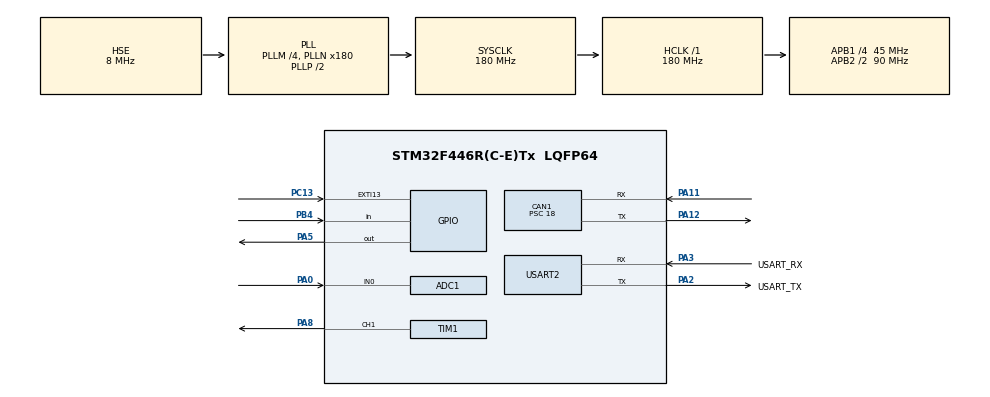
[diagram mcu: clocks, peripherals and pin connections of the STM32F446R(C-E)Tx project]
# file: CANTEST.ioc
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ADC1.Channel-0\#ChannelRegularConversion=ADC_CHANNEL_0
ADC1.ContinuousConvMode=DISABLE
ADC1.InjNumberOfConversion=0
ADC1.NbrOfConversionFlag=1
ADC1.Rank-0\#ChannelRegularConversion=1
ADC1.SamplingTime-0\#ChannelRegularConversion=ADC_SAMPLETIME_3CYCLES
ADC1.master=1
CAN1.BS1=CAN_BS1_2TQ
CAN1.BS2=CAN_BS2_2TQ
CAN1.CalculateBaudRate=500000
CAN1.CalculateTimeBit=2000
CAN1.CalculateTimeQuantum=400.0
CAN1.Prescaler=18
Dma.Request0=TIM1_CH1
Dma.TIM1_CH1.0.Direction=DMA_MEMORY_TO_PERIPH
Dma.TIM1_CH1.0.FIFOMode=DMA_FIFOMODE_DISABLE
Dma.TIM1_CH1.0.Instance=DMA2_Stream1
Dma.TIM1_CH1.0.MemDataAlignment=DMA_MDATAALIGN_HALFWORD
Dma.TIM1_CH1.0.MemInc=DMA_MINC_ENABLE
Dma.TIM1_CH1.0.Mode=DMA_NORMAL
Dma.TIM1_CH1.0.PeriphDataAlignment=DMA_PDATAALIGN_HALFWORD
Dma.TIM1_CH1.0.PeriphInc=DMA_PINC_DISABLE
Dma.TIM1_CH1.0.Priority=DMA_PRIORITY_LOW
Mcu.Family=STM32F4
Mcu.Name=STM32F446R(C-E)Tx
Mcu.Package=LQFP64
NVIC.ADC_IRQn=true\:0\:0\:false\:false\:true\:true\:true\:true
NVIC.CAN1_RX0_IRQn=true\:0\:0\:false\:false\:true\:true\:true\:true
NVIC.DMA2_Stream1_IRQn=true\:0\:0\:false\:false\:true\:false\:true\:true
NVIC.EXTI15_10_IRQn=true\:0\:0\:false\:false\:true\:true\:true\:true
NVIC.PriorityGroup=NVIC_PRIORITYGROUP_0
NVIC.USART2_IRQn=true\:0\:0\:false\:false\:true\:true\:true\:true
PA0-WKUP.Signal=ADCx_IN0
PA11.Mode=CAN_Activate
PA11.Signal=CAN1_RX
PA12.Mode=CAN_Activate
PA12.Signal=CAN1_TX
PA13.GPIO_Label=TMS
PA13.Mode=Serial_Wire
PA13.Signal=SYS_JTMS-SWDIO
PA14.GPIO_Label=TCK
PA14.Mode=Serial_Wire
PA14.Signal=SYS_JTCK-SWCLK
PA2.GPIO_Label=USART_TX
PA2.Mode=Asynchronous
PA2.Signal=USART2_TX
PA3.GPIO_Label=USART_RX
PA3.Mode=Asynchronous
PA3.Signal=USART2_RX
PA5.Signal=GPIO_Output
PA8.Signal=S_TIM1_CH1
PB3.GPIO_Label=SWO
PB3.Signal=SYS_JTDO-SWO
PB4.GPIO_PuPd=GPIO_PULLUP
PB4.Signal=GPIO_Input
PC13.Signal=GPXTI13
PC14-OSC32_IN.Mode=LSE-External-Oscillator
PC14-OSC32_IN.Signal=RCC_OSC32_IN
PC15-OSC32_OUT.Mode=LSE-External-Oscillator
PC15-OSC32_OUT.Signal=RCC_OSC32_OUT
PH0-OSC_IN.Mode=HSE-External-Oscillator
PH0-OSC_IN.Signal=RCC_OSC_IN
PH1-OSC_OUT.Mode=HSE-External-Oscillator
PH1-OSC_OUT.Signal=RCC_OSC_OUT
ProjectManager.HeapSize=0x200
ProjectManager.StackSize=0x400
ProjectManager.TargetToolchain=STM32CubeIDE
RCC.48MHZClocksFreq_Value=84000000
RCC.AHBFreq_Value=180000000
RCC.APB1CLKDivider=RCC_HCLK_DIV4
RCC.APB1Freq_Value=45000000
RCC.APB1TimFreq_Value=90000000
RCC.APB2CLKDivider=RCC_HCLK_DIV2
RCC.APB2Freq_Value=90000000
RCC.APB2TimFreq_Value=180000000
RCC.CortexFreq_Value=180000000
RCC.FLatency-AdvancedSettings=FLASH_LATENCY_5
RCC.HCLKFreq_Value=180000000
RCC.HSE_VALUE=8000000
RCC.HSI_VALUE=16000000
RCC.PLLM=4
RCC.PLLN=180
RCC.PLLSourceVirtual=RCC_PLLSOURCE_HSE
RCC.SYSCLKFreq_VALUE=180000000
RCC.SYSCLKSource=RCC_SYSCLKSOURCE_PLLCLK
RCC.USBFreq_Value=180000000
RCC.VCOOutputFreq_Value=360000000
SH.ADCx_IN0.0=ADC1_IN0,IN0
SH.S_TIM1_CH1.0=TIM1_CH1,PWM Generation1 CH1
TIM1.Channel-PWM\ Generation1\ CH1=TIM_CHANNEL_1
USART2.VirtualMode=VM_ASYNC
VP_TIM1_VS_ClockSourceINT.Mode=Internal
board=NUCLEO-F446RE

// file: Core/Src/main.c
/* USER CODE BEGIN Header */
/**
  ******************************************************************************
  * @file           : main.c
  * @brief          : Main program body
  ******************************************************************************
  * @attention
  *
  * Copyright (c) 2025 STMicroelectronics.
  * All rights reserved.
  *
  * This software is licensed under terms that can be found in the LICENSE file
  * in the root directory of this software component.
  * If no LICENSE file comes with this software, it is provided AS-IS.
  *
  ******************************************************************************
  */
/* USER CODE END Header */
#include "main.h"

/* USER CODE BEGIN Includes */
#include "MQ2.h"
#include <math.h>
#include "DHT.h"
#include <stdio.h>
#include <string.h>
#include <stdbool.h>

/* USER CODE END Includes */

ADC_HandleTypeDef hadc1;

CAN_HandleTypeDef hcan1;

TIM_HandleTypeDef htim1;
DMA_HandleTypeDef hdma_tim1_ch1;

UART_HandleTypeDef huart2;

/* USER CODE BEGIN PV */
char uartBufR[64];
char txBuf[200];	// buffer for serial communication
uint8_t adc_valid = 0;
/* ADC Samples array */
uint32_t NUM_SAMPLES = 0;
uint32_t i = 0;
uint32_t ADC_SAMPLES[1000];
/* USER CODE END PV */

void SystemClock_Config(void);
static void MX_GPIO_Init(void);
static void MX_DMA_Init(void);
static void MX_USART2_UART_Init(void);
static void MX_CAN1_Init(void);
static void MX_ADC1_Init(void);
static void MX_TIM1_Init(void);
/* USER CODE BEGIN PFP */
void usDelay(uint16_t us);
void DelayTIM4_Init(void);
/* USER CODE END PFP */

/* USER CODE BEGIN 0 */
CAN_TxHeaderTypeDef TxHeader;
CAN_RxHeaderTypeDef RxHeader;

uint8_t TxData[8];
uint8_t RxData[8];

uint32_t TxMailbox;
int datacheck=0;
ADC_HandleTypeDef hadc1;
UART_HandleTypeDef huart2;

void HAL_ADC_ConvCpltCallback(ADC_HandleTypeDef *hadc){
	adc_valid = 1;
	if(i < NUM_SAMPLES){
		ADC_SAMPLES[i] = HAL_ADC_GetValue(&hadc1);
		i++;
		HAL_ADC_Start_IT(&hadc1);
	}
	else{
		i = 0;	// reinitialize iterator
		HAL_ADC_Stop_IT(&hadc1);
	}
}

/* MQ2 Sensor Specific Functions */
void MQ2_create(MQ2 *sensor) {
    sensor->LPGCurve[0] = 2.3;
    sensor->LPGCurve[1] = 0.21;
    sensor->LPGCurve[2] = -0.47;
    sensor->COCurve[0] = 2.3;
    sensor->COCurve[1] = 0.72;
    sensor->COCurve[2] = -0.34;
    sensor->SmokeCurve[0] = 2.3;
    sensor->SmokeCurve[1] = 0.53;
    sensor->SmokeCurve[2] = -0.44;
    sensor->Ro = -1.0;
    sensor->lastReadTime = 0;
}

void MQ2_begin(MQ2 *sensor) {
    // Initialization code here
	sensor->Ro = MQ2_MQCalibration(sensor);

	sprintf(txBuf, "Ro: %f kohm\r\n\r\n", sensor->Ro);
	HAL_UART_Transmit_IT(&huart2, (uint8_t *)txBuf, strlen(txBuf));
	HAL_Delay(50);
}

void MQ2_close(MQ2 *sensor) {
	sensor->Ro = -1.0;
	sensor->values[0] = 0.0;
	sensor->values[1] = 0.0;
	sensor->values[2] = 0.0;
}

bool MQ2_checkCalibration(MQ2 *sensor) {
	if (sensor->Ro < 0.0) {
		sprintf(txBuf, "%s ", "Device not calibrated, call MQ2_begin before reading any value.");
		HAL_UART_Transmit_IT(&huart2, (uint8_t *)txBuf, strlen(txBuf));
		return false;
	}
	return true;
}

float* MQ2_read(MQ2 *sensor, bool print) {
    // Reading code here
	if (!MQ2_checkCalibration(sensor)) return NULL;

	sensor->values[0] = MQ2_MQGetPercentage(sensor->LPGCurve, sensor);
	sensor->values[1] = MQ2_MQGetPercentage(sensor->COCurve, sensor);
	sensor->values[2] = MQ2_MQGetPercentage(sensor->SmokeCurve, sensor);

	sensor->lastReadTime = HAL_GetTick();

	if (print){
		sprintf(txBuf, "%dms\r\n", sensor->lastReadTime);
		HAL_UART_Transmit_IT(&huart2, (uint8_t *)txBuf, strlen(txBuf));
		HAL_Delay(50);

		sprintf(txBuf, "LPG: %f ppm\r\n", sensor->values[0]);
		HAL_UART_Transmit_IT(&huart2, (uint8_t *)txBuf, strlen(txBuf));
		HAL_Delay(50);

		sprintf(txBuf, "CO: %f ppm \r\n", sensor->values[1]);
		HAL_UART_Transmit_IT(&huart2, (uint8_t *)txBuf, strlen(txBuf));
		HAL_Delay(50);

		sprintf(txBuf, "SMOKE: %f ppm\r\n", sensor->values[2]);
		HAL_UART_Transmit_IT(&huart2, (uint8_t *)txBuf, strlen(txBuf));
		HAL_Delay(50);
	}

	return sensor->values;
}

float MQ2_readLPG(MQ2 *sensor) {

	if (!MQ2_checkCalibration(sensor)) return 0.0;

	if (HAL_GetTick() < (sensor->lastReadTime + READ_DELAY) && sensor->values[0] > 0)
		return sensor->values[0];
	else
		return (sensor->values[0] = MQ2_MQGetPercentage(sensor->LPGCurve, sensor));
}

float MQ2_readCO(MQ2 *sensor) {
	if (!MQ2_checkCalibration(sensor)) return 0.0;

	if (HAL_GetTick() < (sensor->lastReadTime + READ_DELAY) && sensor->values[1] > 0)
		return sensor->values[1];
	else
		return (sensor->values[1] = MQ2_MQGetPercentage(sensor->COCurve, sensor));
}

float MQ2_readSmoke(MQ2 *sensor) {
	if (!MQ2_checkCalibration(sensor)) return 0.0;

	if (HAL_GetTick() < (sensor->lastReadTime + READ_DELAY) && sensor->values[2] > 0)
		return sensor->values[2];
	else
		return (sensor->values[2] = MQ2_MQGetPercentage(sensor->SmokeCurve, sensor));
}

float MQ2_MQResistanceCalculation(int raw_adc) {
    // MQResistanceCalculation code here
	float flt_adc = (float) raw_adc;
	return RL_VALUE * (1023.0 - flt_adc) / flt_adc;
}

float MQ2_MQCalibration(MQ2 *sensor) {
    // MQCalibration code here
	float val = 0.0;

	// take multiple samples
	NUM_SAMPLES = CALIBARAION_SAMPLE_TIMES;
	HAL_ADC_Start_IT(&hadc1);
	HAL_Delay(CALIBRATION_SAMPLE_INTERVAL);

	for (int i = 0; i < CALIBARAION_SAMPLE_TIMES; i++) {
		val += MQ2_MQResistanceCalculation(ADC_SAMPLES[i]);
	}

	//calculate the average value
	val = val / ((float) CALIBARAION_SAMPLE_TIMES);

	//divided by RO_CLEAN_AIR_FACTOR yields the Ro according to the chart in the datasheet
	val = val / RO_CLEAN_AIR_FACTOR;

	return val;
}

float MQ2_MQRead(MQ2 *sensor) {
	float rs = 0.0;

	// take multiple samples
	NUM_SAMPLES = READ_SAMPLE_TIMES;
	HAL_ADC_Start_IT(&hadc1);
	HAL_Delay(READ_SAMPLE_INTERVAL);

	for (int i = 0; i < READ_SAMPLE_TIMES; i++) {
		rs += MQ2_MQResistanceCalculation(ADC_SAMPLES[i]);
	}

	return rs / ((float) READ_SAMPLE_TIMES);  // return the average
}

float MQ2_MQGetPercentage(float *pcurve, MQ2 *sensor) {
	float rs_ro_ratio = MQ2_MQRead(sensor) / sensor->Ro;
	return pow(10.0, ((log(rs_ro_ratio) - pcurve[1]) / pcurve[2]) + pcurve[0]);
}
void HAL_GPIO_EXTI_Callback(uint16_t GPIO_Pin)
{
	if(GPIO_Pin==GPIO_PIN_13)
	{
		TxData[0]=0; //ms delay
		TxData[1]=0;  //loop
		TxData[2]=0;

		HAL_CAN_AddTxMessage(&hcan1, &TxHeader, TxData, TxMailbox);
	}
	}
void HAL_CAN_RxFifo0MsgPendingCallback(CAN_HandleTypeDef *hcan)
{
	HAL_CAN_GetRxMessage(hcan, CAN_RX_FIFO0, &RxHeader, RxData);
	if(RxHeader.DLC==2)
	{
		datacheck=1;
	}
	}

char uartBuf[100];

/* USER CODE END 0 */

int main(void)
{

  /* USER CODE BEGIN 1 */
//	uint32_t numTicks = 0;////////////////////////////////////////

  /* USER CODE END 1 */

  /* MCU Configuration--------------------------------------------------------*/

  /* Reset of all peripherals, Initializes the Flash interface and the Systick. */
  HAL_Init();

  /* Configure the system clock */
  SystemClock_Config();

  /* Initialize all configured peripherals */
  MX_GPIO_Init();
  MX_DMA_Init();
  MX_USART2_UART_Init();
  MX_CAN1_Init();
  MX_ADC1_Init();
  MX_TIM1_Init();
  /* USER CODE BEGIN 2 */
HAL_CAN_Start(&hcan1);
// Setup
MQ2 sensor;
MQ2_create(&sensor);
MQ2_begin(&sensor);
float lpg, co, smoke;
//DelayTIM4_Init();

static DHT_sensor livingRoom = {GPIOB, GPIO_PIN_4, DHT11, GPIO_NOPULL};
//activate notification
HAL_CAN_ActivateNotification(&hcan1, CAN_IT_RX_FIFO0_MSG_PENDING);

TxHeader.DLC=3;
TxHeader.IDE=CAN_ID_STD;
TxHeader.RTR=CAN_RTR_DATA;
TxHeader.StdId=0x446;
//Ro = MQ4_CalculateRo();

HAL_Delay(2000);

  /* USER CODE END 2 */

  /* Infinite loop */
  /* USER CODE BEGIN WHILE */
  while (1)
  {
	  MQ2_read(&sensor, true); //set it false if you don't want to print the values to the Serial

	 	  // lpg = values[0];
	 	  lpg = MQ2_readLPG(&sensor);
	 	  // co = values[1];
	 	  co = MQ2_readCO(&sensor);
	 	  // smoke = values[2];
	 	  smoke = MQ2_readSmoke(&sensor);

	 	  sprintf(txBuf, "lpg: %f\r\n", lpg);
	 	  HAL_UART_Transmit_IT(&huart2, (uint8_t *)txBuf, strlen(txBuf));
	 	  HAL_Delay(50);

	 	  sprintf(txBuf, "co: %f\r\n", co);
	 	  HAL_UART_Transmit_IT(&huart2, (uint8_t *)txBuf, strlen(txBuf));
	 	  HAL_Delay(50);

	 	  sprintf(txBuf, "smoke: %f\r\n\r\n", smoke);
	 	  HAL_UART_Transmit_IT(&huart2, (uint8_t *)txBuf, strlen(txBuf));
	 	  HAL_Delay(50);

	 	  HAL_Delay(1000);
    /* USER CODE END WHILE */

    /* USER CODE BEGIN 3 */
	  char msg[40];
	  DHT_data d = DHT_getData(&livingRoom);
	  sprintf(msg, "\f Temp %d°C, Hum %d%%", (uint8_t)d.temp, (uint8_t)d.hum);
	  HAL_UART_Transmit(&huart2, (uint8_t*)msg, strlen(msg), 10);////////////////////////////////////HAL_MAX_DELAY
HAL_Delay(1000);

	 // HAL_Delay(50);

	 // sprintf(txBuf, "co: %f\r\n", co);
	//  HAL_UART_Transmit_IT(&huart2, (uint8_t *)txBuf, strlen(txBuf));
	 // HAL_Delay(50);

	 // sprintf(txBuf, "smoke: %f\r\n\r\n", smoke);
	 // HAL_UART_Transmit_IT(&huart2, (uint8_t *)txBuf, strlen(txBuf));
	 // HAL_Delay(50);

	  //HAL_Delay(500);
	  //blink the led
	  if (isnan(lpg)&&(d.temp<50)) {

		  //int ValTemp = (int)d.temp;
		  TxData[0]=1; //ms delay
		  TxData[1]=0;  //loop
		  TxData[2]=d.temp;s
		  HAL_CAN_AddTxMessage(&hcan1, &TxHeader, TxData, TxMailbox);

	  }else if(!isnan(lpg)&&(d.temp>50)){

		  int ValTemp = (int)d.temp;
		  TxData[0]=0; //ms delay
		  TxData[1]=1;  //loop
		  TxData[2]=d.temp;
		  HAL_CAN_AddTxMessage(&hcan1, &TxHeader, TxData, TxMailbox);

	  }else if(isnan(lpg)&&(d.temp>50)){
		  int ValTemp = (int)d.temp;
		  TxData[0]=1; //ms delay
		  TxData[1]=1;  //loop
		  TxData[2]=d.temp;
		  HAL_CAN_AddTxMessage(&hcan1, &TxHeader, TxData, TxMailbox);

	  }else{
		  int ValTemp = d.temp;
		  TxData[0]=0; //ms delay
		  TxData[1]=0;  //loop
		  TxData[2]=d.temp;
		  HAL_CAN_AddTxMessage(&hcan1, &TxHeader, TxData, TxMailbox);
	  }
  }
  /* USER CODE END 3 */
}

void SystemClock_Config(void)
{
  RCC_OscInitTypeDef RCC_OscInitStruct = {0};
  RCC_ClkInitTypeDef RCC_ClkInitStruct = {0};

  /** Configure the main internal regulator output voltage
  */
  __HAL_RCC_PWR_CLK_ENABLE();
  __HAL_PWR_VOLTAGESCALING_CONFIG(PWR_REGULATOR_VOLTAGE_SCALE1);

  /** Initializes the RCC Oscillators according to the specified parameters
  * in the RCC_OscInitTypeDef structure.
  */
  RCC_OscInitStruct.OscillatorType = RCC_OSCILLATORTYPE_HSE;
  RCC_OscInitStruct.HSEState = RCC_HSE_ON;
  RCC_OscInitStruct.PLL.PLLState = RCC_PLL_ON;
  RCC_OscInitStruct.PLL.PLLSource = RCC_PLLSOURCE_HSE;
  RCC_OscInitStruct.PLL.PLLM = 4;
  RCC_OscInitStruct.PLL.PLLN = 180;
  RCC_OscInitStruct.PLL.PLLP = RCC_PLLP_DIV2;
  RCC_OscInitStruct.PLL.PLLQ = 2;
  RCC_OscInitStruct.PLL.PLLR = 2;
  if (HAL_RCC_OscConfig(&RCC_OscInitStruct) != HAL_OK)
  {
    Error_Handler();
  }

  /** Activate the Over-Drive mode
  */
  if (HAL_PWREx_EnableOverDrive() != HAL_OK)
  {
    Error_Handler();
  }

  /** Initializes the CPU, AHB and APB buses clocks
  */
  RCC_ClkInitStruct.ClockType = RCC_CLOCKTYPE_HCLK|RCC_CLOCKTYPE_SYSCLK
                              |RCC_CLOCKTYPE_PCLK1|RCC_CLOCKTYPE_PCLK2;
  RCC_ClkInitStruct.SYSCLKSource = RCC_SYSCLKSOURCE_PLLCLK;
  RCC_ClkInitStruct.AHBCLKDivider = RCC_SYSCLK_DIV1;
  RCC_ClkInitStruct.APB1CLKDivider = RCC_HCLK_DIV4;
  RCC_ClkInitStruct.APB2CLKDivider = RCC_HCLK_DIV2;

  if (HAL_RCC_ClockConfig(&RCC_ClkInitStruct, FLASH_LATENCY_5) != HAL_OK)
  {
    Error_Handler();
  }
}

static void MX_ADC1_Init(void)
{

  ADC_ChannelConfTypeDef sConfig = {0};

  /** Configure the global features of the ADC (Clock, Resolution, Data Alignment and number of conversion)
  */
  hadc1.Instance = ADC1;
  hadc1.Init.ClockPrescaler = ADC_CLOCK_SYNC_PCLK_DIV4;
  hadc1.Init.Resolution = ADC_RESOLUTION_12B;
  hadc1.Init.ScanConvMode = DISABLE;
  hadc1.Init.ContinuousConvMode = DISABLE;
  hadc1.Init.DiscontinuousConvMode = DISABLE;
  hadc1.Init.ExternalTrigConvEdge = ADC_EXTERNALTRIGCONVEDGE_NONE;
  hadc1.Init.ExternalTrigConv = ADC_SOFTWARE_START;
  hadc1.Init.DataAlign = ADC_DATAALIGN_RIGHT;
  hadc1.Init.NbrOfConversion = 1;
  hadc1.Init.DMAContinuousRequests = DISABLE;
  hadc1.Init.EOCSelection = ADC_EOC_SINGLE_CONV;
  if (HAL_ADC_Init(&hadc1) != HAL_OK)
  {
    Error_Handler();
  }

  /** Configure for the selected ADC regular channel its corresponding rank in the sequencer and its sample time.
  */
  sConfig.Channel = ADC_CHANNEL_0;
  sConfig.Rank = 1;
  sConfig.SamplingTime = ADC_SAMPLETIME_3CYCLES;
  if (HAL_ADC_ConfigChannel(&hadc1, &sConfig) != HAL_OK)
  {
    Error_Handler();
  }

}

static void MX_CAN1_Init(void)
{

  hcan1.Instance = CAN1;
  hcan1.Init.Prescaler = 18;
  hcan1.Init.Mode = CAN_MODE_NORMAL;
  hcan1.Init.SyncJumpWidth = CAN_SJW_1TQ;
  hcan1.Init.TimeSeg1 = CAN_BS1_2TQ;
  hcan1.Init.TimeSeg2 = CAN_BS2_2TQ;
  hcan1.Init.TimeTriggeredMode = DISABLE;
  hcan1.Init.AutoBusOff = DISABLE;
  hcan1.Init.AutoWakeUp = DISABLE;
  hcan1.Init.AutoRetransmission = DISABLE;
  hcan1.Init.ReceiveFifoLocked = DISABLE;
  hcan1.Init.TransmitFifoPriority = DISABLE;
  if (HAL_CAN_Init(&hcan1) != HAL_OK)
  {
    Error_Handler();
  }
  /* USER CODE BEGIN CAN1_Init 2 */
  CAN_FilterTypeDef canfilterconfig;
  canfilterconfig.FilterActivation=CAN_FILTER_ENABLE;
  canfilterconfig.FilterBank=18;
  canfilterconfig.FilterFIFOAssignment=CAN_FILTER_FIFO0;
  canfilterconfig.FilterIdHigh=0x103<<5;
  canfilterconfig.FilterIdLow=0;
  canfilterconfig.FilterMaskIdHigh=0x100<<5;
  canfilterconfig.FilterMaskIdLow=0x0000;
  canfilterconfig.FilterMode=CAN_FILTERMODE_IDMASK;
  canfilterconfig.FilterScale=CAN_FILTERSCALE_32BIT;
  canfilterconfig.SlaveStartFilterBank=20;

  HAL_CAN_ConfigFilter(&hcan1, &canfilterconfig);
  /* USER CODE END CAN1_Init 2 */

}

static void MX_TIM1_Init(void)
{

  TIM_ClockConfigTypeDef sClockSourceConfig = {0};
  TIM_MasterConfigTypeDef sMasterConfig = {0};
  TIM_OC_InitTypeDef sConfigOC = {0};
  TIM_BreakDeadTimeConfigTypeDef sBreakDeadTimeConfig = {0};

  htim1.Instance = TIM1;
  htim1.Init.Prescaler = 0;
  htim1.Init.CounterMode = TIM_COUNTERMODE_UP;
  htim1.Init.Period = 65535;
  htim1.Init.ClockDivision = TIM_CLOCKDIVISION_DIV1;
  htim1.Init.RepetitionCounter = 0;
  htim1.Init.AutoReloadPreload = TIM_AUTORELOAD_PRELOAD_DISABLE;
  if (HAL_TIM_Base_Init(&htim1) != HAL_OK)
  {
    Error_Handler();
  }
  sClockSourceConfig.ClockSource = TIM_CLOCKSOURCE_INTERNAL;
  if (HAL_TIM_ConfigClockSource(&htim1, &sClockSourceConfig) != HAL_OK)
  {
    Error_Handler();
  }
  if (HAL_TIM_PWM_Init(&htim1) != HAL_OK)
  {
    Error_Handler();
  }
  sMasterConfig.MasterOutputTrigger = TIM_TRGO_RESET;
  sMasterConfig.MasterSlaveMode = TIM_MASTERSLAVEMODE_DISABLE;
  if (HAL_TIMEx_MasterConfigSynchronization(&htim1, &sMasterConfig) != HAL_OK)
  {
    Error_Handler();
  }
  sConfigOC.OCMode = TIM_OCMODE_PWM1;
  sConfigOC.Pulse = 0;
  sConfigOC.OCPolarity = TIM_OCPOLARITY_HIGH;
  sConfigOC.OCNPolarity = TIM_OCNPOLARITY_HIGH;
  sConfigOC.OCFastMode = TIM_OCFAST_DISABLE;
  sConfigOC.OCIdleState = TIM_OCIDLESTATE_RESET;
  sConfigOC.OCNIdleState = TIM_OCNIDLESTATE_RESET;
  if (HAL_TIM_PWM_ConfigChannel(&htim1, &sConfigOC, TIM_CHANNEL_1) != HAL_OK)
  {
    Error_Handler();
  }
  sBreakDeadTimeConfig.OffStateRunMode = TIM_OSSR_DISABLE;
  sBreakDeadTimeConfig.OffStateIDLEMode = TIM_OSSI_DISABLE;
  sBreakDeadTimeConfig.LockLevel = TIM_LOCKLEVEL_OFF;
  sBreakDeadTimeConfig.DeadTime = 0;
  sBreakDeadTimeConfig.BreakState = TIM_BREAK_DISABLE;
  sBreakDeadTimeConfig.BreakPolarity = TIM_BREAKPOLARITY_HIGH;
  sBreakDeadTimeConfig.AutomaticOutput = TIM_AUTOMATICOUTPUT_DISABLE;
  if (HAL_TIMEx_ConfigBreakDeadTime(&htim1, &sBreakDeadTimeConfig) != HAL_OK)
  {
    Error_Handler();
  }
  HAL_TIM_MspPostInit(&htim1);

}

static void MX_USART2_UART_Init(void)
{

  huart2.Instance = USART2;
  huart2.Init.BaudRate = 115200;
  huart2.Init.WordLength = UART_WORDLENGTH_8B;
  huart2.Init.StopBits = UART_STOPBITS_1;
  huart2.Init.Parity = UART_PARITY_NONE;
  huart2.Init.Mode = UART_MODE_TX_RX;
  huart2.Init.HwFlowCtl = UART_HWCONTROL_NONE;
  huart2.Init.OverSampling = UART_OVERSAMPLING_16;
  if (HAL_UART_Init(&huart2) != HAL_OK)
  {
    Error_Handler();
  }

}

static void MX_DMA_Init(void)
{

  /* DMA controller clock enable */
  __HAL_RCC_DMA2_CLK_ENABLE();

  /* DMA interrupt init */
  /* DMA2_Stream1_IRQn interrupt configuration */
  HAL_NVIC_SetPriority(DMA2_Stream1_IRQn, 0, 0);
  HAL_NVIC_EnableIRQ(DMA2_Stream1_IRQn);

}

static void MX_GPIO_Init(void)
{
  GPIO_InitTypeDef GPIO_InitStruct = {0};

  /* GPIO Ports Clock Enable */
  __HAL_RCC_GPIOC_CLK_ENABLE();
  __HAL_RCC_GPIOH_CLK_ENABLE();
  __HAL_RCC_GPIOA_CLK_ENABLE();
  __HAL_RCC_GPIOB_CLK_ENABLE();

  /*Configure GPIO pin Output Level */
  HAL_GPIO_WritePin(GPIOA, GPIO_PIN_5, GPIO_PIN_RESET);

  /*Configure GPIO pin : PC13 */
  GPIO_InitStruct.Pin = GPIO_PIN_13;
  GPIO_InitStruct.Mode = GPIO_MODE_IT_RISING;
  GPIO_InitStruct.Pull = GPIO_NOPULL;
  HAL_GPIO_Init(GPIOC, &GPIO_InitStruct);

  /*Configure GPIO pin : PA5 */
  GPIO_InitStruct.Pin = GPIO_PIN_5;
  GPIO_InitStruct.Mode = GPIO_MODE_OUTPUT_PP;
  GPIO_InitStruct.Pull = GPIO_NOPULL;
  GPIO_InitStruct.Speed = GPIO_SPEED_FREQ_LOW;
  HAL_GPIO_Init(GPIOA, &GPIO_InitStruct);

  /*Configure GPIO pin : PB4 */
  GPIO_InitStruct.Pin = GPIO_PIN_4;
  GPIO_InitStruct.Mode = GPIO_MODE_INPUT;
  GPIO_InitStruct.Pull = GPIO_PULLUP;
  HAL_GPIO_Init(GPIOB, &GPIO_InitStruct);

  /* EXTI interrupt init*/
  HAL_NVIC_SetPriority(EXTI15_10_IRQn, 0, 0);
  HAL_NVIC_EnableIRQ(EXTI15_10_IRQn);

}

void Error_Handler(void)
{
  __disable_irq();
  while (1)
  {
  }
}
